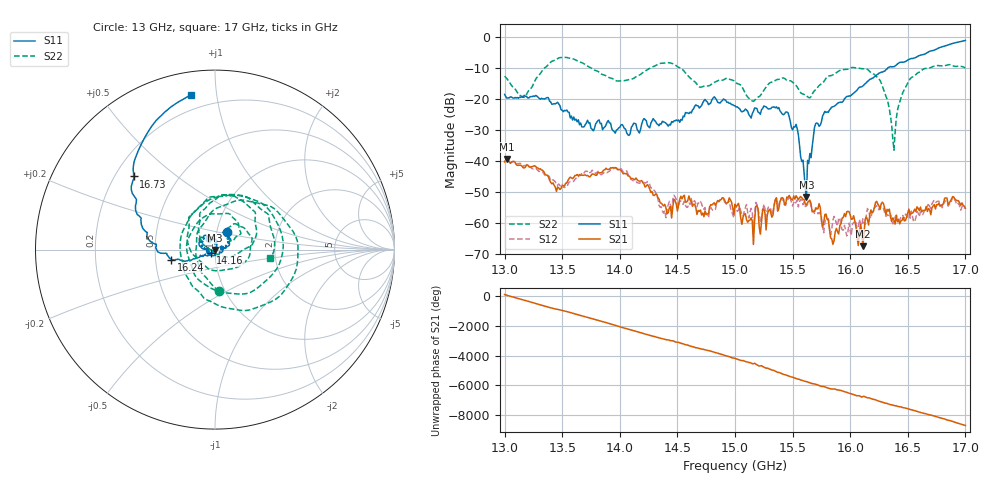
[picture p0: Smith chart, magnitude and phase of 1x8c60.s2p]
!Keysight Technologies,P9374A,MY57211807,A.19.30.04
!Date: Friday, May 08, 2026 15:12:47
!Correction: S11(C  2-Port  )
!S21(C  2-Port  )
!S12(C  2-Port  )
!S22(C  2-Port  )
!S2P File: Measurements: S11, S21, S12, S22:
# Hz S  dB  R 50
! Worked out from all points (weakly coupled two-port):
!   401 points, 13 GHz to 17 GHz, reference 50 ohm
!   highest |S21| = -39.40 dB at 13.02 GHz (marker M1); lowest = -67.6 dB at 16.11 GHz (marker M2)
!   lowest |S11| = -51.7 dB at 15.62 GHz (marker M3), VSWR 1.01, Z = 49.8 - j0.21 ohm
!   |S11| at or under -10 dB: start of sweep to 16.33 GHz
!   |S22| runs from -36.6 to -6.6 dB; largest |S21 - S12| = 0.0013
!   S11 on the Smith chart (normalised r, x): 13 GHz: 1.12, +0.22; 14.16 GHz: 0.95, -0.04; 16.24 GHz: 0.61, -0.07; 16.73 GHz: 0.28, +0.36; 17 GHz: 0.12, +0.85
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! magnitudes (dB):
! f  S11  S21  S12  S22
! 13 GHz  -18.6  -40.3  -40.5  -12.7
! 13.02 GHz  -19.8  -39.4  -39.8  -13.5
! 13.16 GHz  -19.5  -42.2  -41.8  -19.5
! 13.41 GHz  -21.8  -47.4  -46.5  -7.9
! 13.67 GHz  -29.1  -44.6  -44.1  -8.4
! 14.16 GHz  -30.4  -46.5  -47.2  -12.5
! 14.34 GHz  -28.7  -52.3  -54.3  -8.7
! 15 GHz  -22.3  -54.0  -54.4  -14.5
! 15.15 GHz  -24.8  -59.4  -57.0  -20.7
! 15.45 GHz  -24.3  -51.7  -52.1  -14.1
! 15.54 GHz  -29.6  -51.9  -52.6  -16.2
! 15.62 GHz  -51.7  -54.3  -54.6  -19.0
! 15.67 GHz  -35.5  -56.5  -56.0  -18.5
! 15.85 GHz  -22.6  -67.0  -59.1  -12.3
! 15.97 GHz  -19.3  -56.5  -64.3  -10.5
! 16.11 GHz  -15.9  -67.6  -58.7  -10.3
! 16.24 GHz  -12.1  -54.0  -55.4  -13.3
! 16.34 GHz  -9.8  -55.6  -57.0  -23.4
! 16.38 GHz  -9.7  -59.2  -59.6  -36.6
! 16.51 GHz  -7.3  -55.6  -57.2  -14.2
! 16.73 GHz  -4.3  -54.1  -52.6  -9.5
! 17 GHz  -1.2  -55.3  -55.2  -10.1
